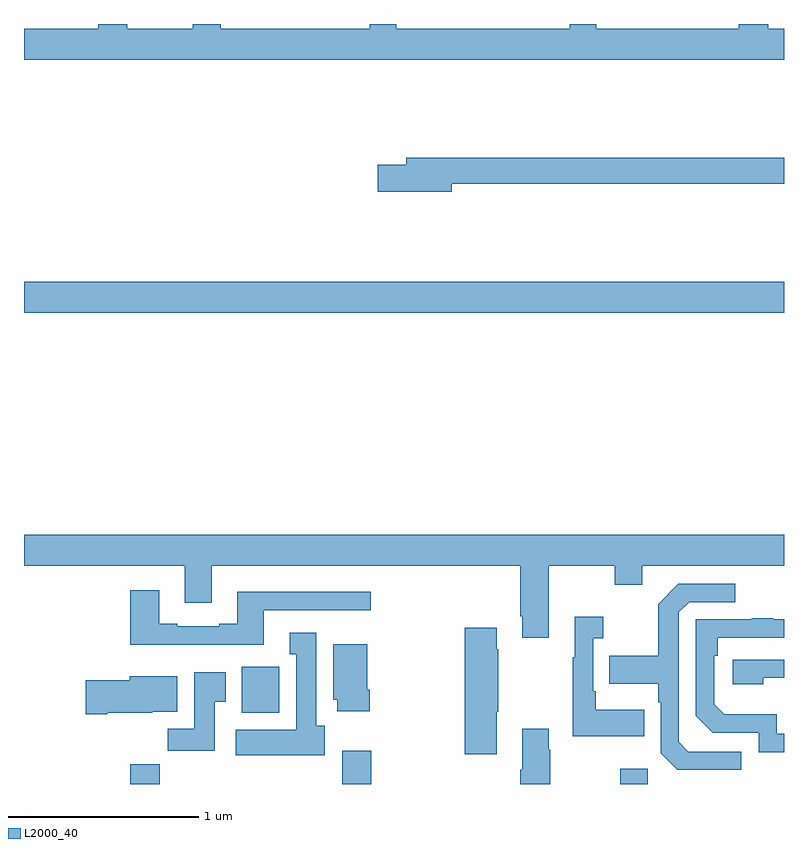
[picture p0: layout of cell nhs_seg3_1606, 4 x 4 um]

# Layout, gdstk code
import gdstk
lib = gdstk.Library(unit=1e-6, precision=1e-09)
def R(c, l, rs):  # rectangles x0, y0, x1, y1
    for r in rs: c.add(gdstk.rectangle(r[:2], r[2:], *l))
def P(c, l, *ps):  # polygons
    for p in ps: c.add(gdstk.Polygon(p, *l))
L2000_40 = (2000, 40)

nhs_seg3_1606 = lib.new_cell('nhs_seg3_1606')
R(nhs_seg3_1606, L2000_40, [(193.559,734.4,193.715,734.504), (194.675,734.4,194.828,734.575), (196.138,734.4,196.284,734.479), (194.147,734.774,194.344,735.016), (193,736.88,197,737.044)])
P(nhs_seg3_1606, L2000_40, [(197,738.376),(196.916,738.376),(196.916,738.4),(196.763,738.4),(196.763,738.376),(196.011,738.376),(196.011,738.4),(195.873,738.4),(195.873,738.376),(194.959,738.376),(194.959,738.4),(194.819,738.4),(194.819,738.376),(194.035,738.376),(194.035,738.4),(193.888,738.4),(193.888,738.376),(193.543,738.376),(193.543,738.4),(193.391,738.4),(193.391,738.376),(193,738.376),(193,738.212),(197,738.212)],
  [(195.25,737.56),(197,737.56),(197,737.696),(195.011,737.696),(195.011,737.66),(194.862,737.66),(194.862,737.518),(195.25,737.518)],
  [(195.763,735.548),(196.108,735.548),(196.108,735.449),(196.255,735.449),(196.255,735.548),(197,735.548),(197,735.712),(193,735.712),(193,735.548),(193.847,735.548),(193.847,735.354),(193.987,735.354),(193.987,735.548),(195.611,735.548),(195.611,735.283),(195.623,735.283),(195.623,735.171),(195.763,735.171)],
  [(196.774,734.571),(196.497,734.571),(196.446,734.622),(196.446,735.303),(196.5,735.357),(196.744,735.357),(196.744,735.453),(196.443,735.453),(196.338,735.347),(196.338,735.075),(196.081,735.075),(196.081,734.927),(196.338,734.927),(196.338,734.831),(196.35,734.831),(196.35,734.562),(196.437,734.475),(196.774,734.475)],
  [(194.263,735.315),(194.824,735.315),(194.824,735.412),(194.123,735.412),(194.123,735.244),(194.027,735.244),(194.027,735.231),(193.807,735.231),(193.807,735.244),(193.711,735.244),(193.711,735.421),(193.559,735.421),(193.559,735.134),(194.263,735.134)],
  [(196.265,734.791),(196.009,734.791),(196.009,734.887),(195.996,734.887),(195.996,735.167),(196.048,735.167),(196.048,735.28),(195.899,735.28),(195.899,735.067),(195.888,735.067),(195.888,734.651),(196.265,734.651)],
  [(197,734.664),(196.962,734.664),(196.962,734.767),(196.685,734.767),(196.632,734.82),(196.632,735.074),(196.652,735.074),(196.652,735.171),(197,735.171),(197,735.267),(196.943,735.267),(196.943,735.272),(196.831,735.272),(196.831,735.267),(196.536,735.267),(196.536,734.76),(196.626,734.67),(196.866,734.67),(196.866,734.568),(197,734.568)],
  [(195.487,734.779),(195.495,734.779),(195.495,735.11),(195.487,735.11),(195.487,735.223),(195.32,735.223),(195.32,734.556),(195.487,734.556)],
  [(194.584,734.706),(194.539,734.706),(194.539,735.196),(194.399,735.196),(194.399,735.083),(194.432,735.083),(194.432,734.686),(194.115,734.686),(194.115,734.552),(194.584,734.552)],
  [(194.819,734.896),(194.806,734.896),(194.806,735.136),(194.627,735.136),(194.627,734.844),(194.648,734.844),(194.648,734.784),(194.819,734.784)],
  [(196.892,734.958),(197,734.958),(197,735.054),(196.731,735.054),(196.731,734.924),(196.892,734.924)],
  [(194.005,734.833),(194.062,734.833),(194.062,734.989),(193.895,734.989),(193.895,734.692),(193.756,734.692),(193.756,734.574),(194.005,734.574)],
  [(193.438,734.774),(193.674,734.774),(193.674,734.78),(193.807,734.78),(193.807,734.968),(193.556,734.968),(193.556,734.945),(193.326,734.945),(193.326,734.767),(193.438,734.767)],
  [(195.771,734.579),(195.763,734.579),(195.763,734.692),(195.623,734.692),(195.623,734.476),(195.611,734.476),(195.611,734.4),(195.771,734.4)])

lib.write_gds('nhs_seg3_1606.gds')
